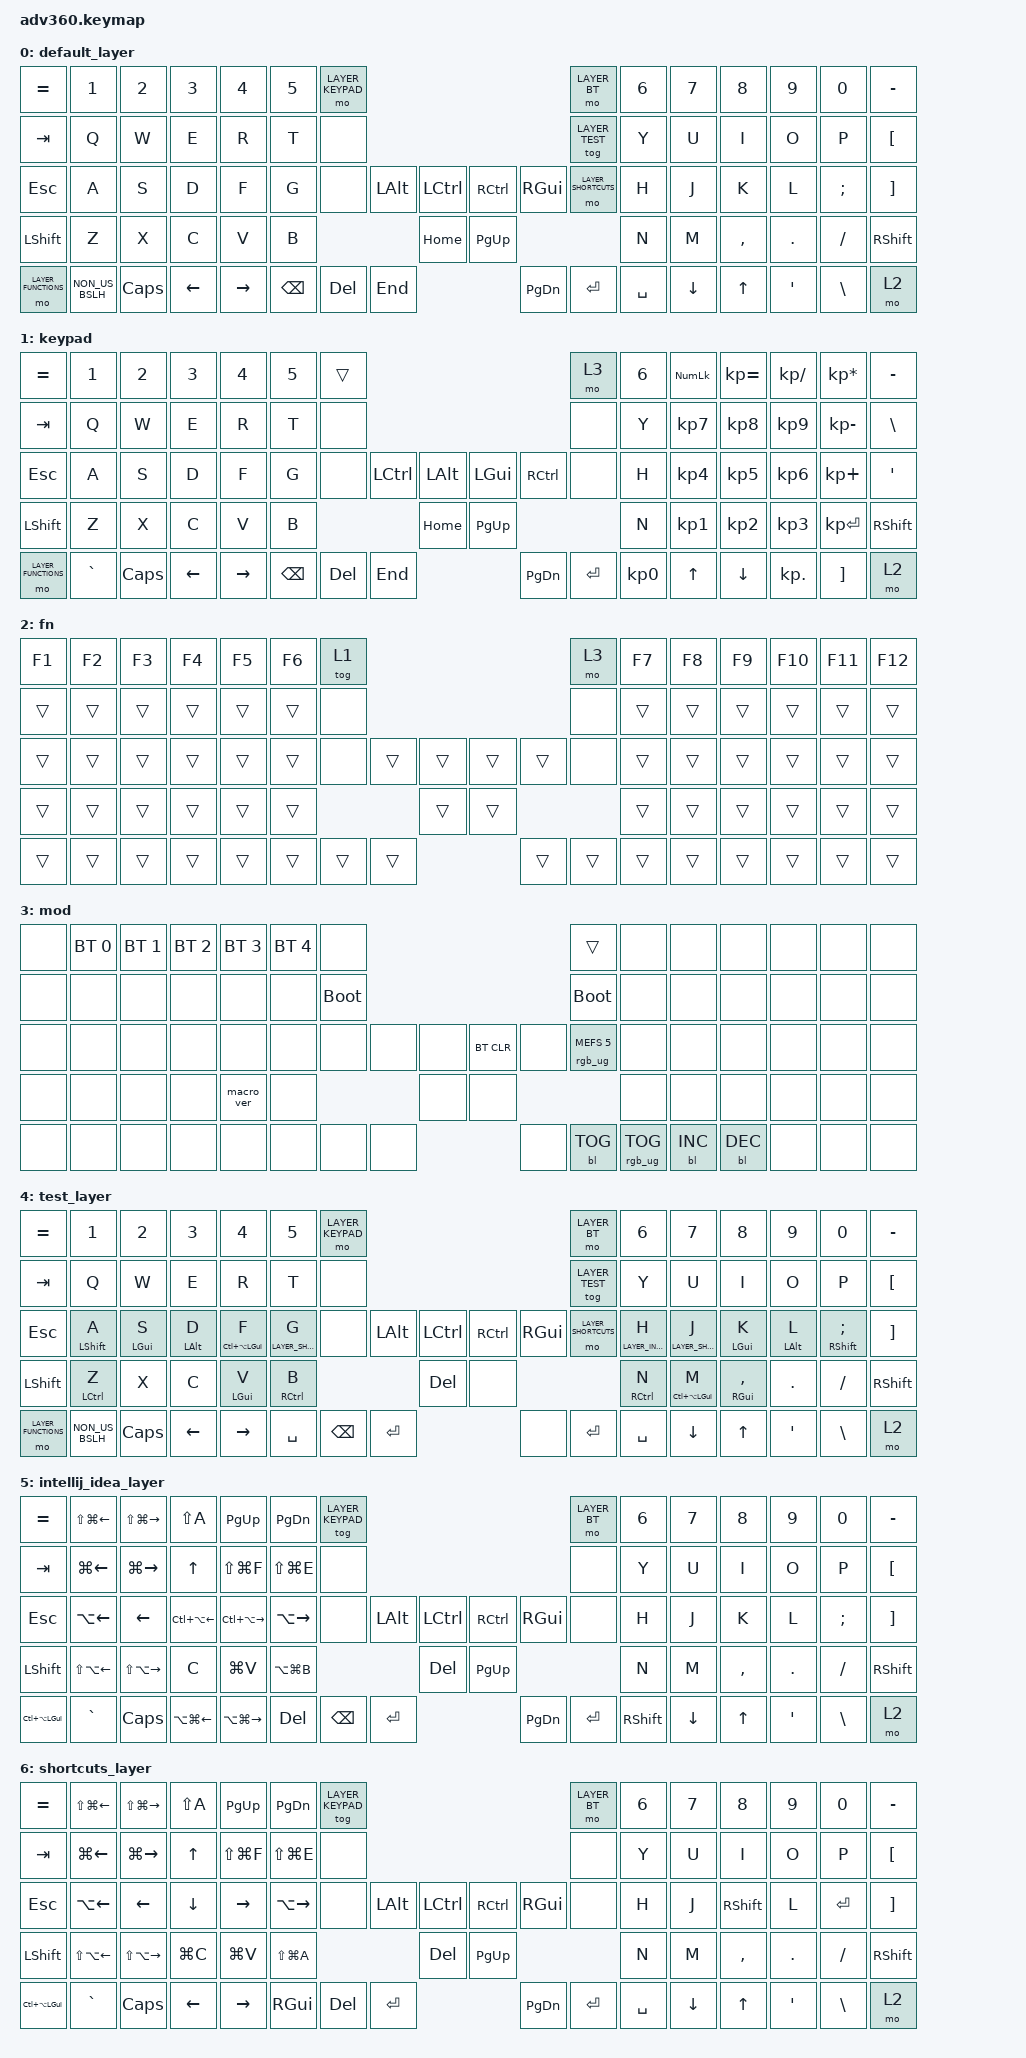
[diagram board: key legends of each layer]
#include <behaviors.dtsi>
#include <dt-bindings/zmk/keys.h>
#include <dt-bindings/zmk/bt.h>
#include <dt-bindings/zmk/rgb.h>
#include <dt-bindings/zmk/backlight.h>
#define LAYER_DEFAULT 0
#define LAYER_KEYPAD 1
#define LAYER_FUNCTIONS 2
#define LAYER_BT 3
#define LAYER_TEST 4
#define LAYER_INTELLIJ_IDEA 5
#define LAYER_SHORTCUTS 6


/*
 Configuraciones de teclado lationamericano
 SEMI - ñ
 LEFT_BRACKET - acento ´
 SQT - open bracckets {}
*/

/ {
    behaviors {
      #include "macros.dtsi"
      #include "version.dtsi"
      #ifndef VERSION_MACRO
      macro_ver: macro_ver {
        compatible = "zmk,behavior-macro";
        label = "macro_version";
        #binding-cells = <0>;
        bindings = <&kp RET>;
      };
      #endif

      hm: homerow_mods {
          compatible = "zmk,behavior-hold-tap";
          label = "HOMEROW_MODS";
          #binding-cells = <2>;
          tapping-term-ms = <181>;
          quick_tap_ms = <164>;
          flavor = "tap-preferred";
          bindings = <&kp>, <&kp>;
      };

      hms: homerow_mods_speed {
          compatible = "zmk,behavior-hold-tap";
          label = "HOMEROW_MODS_SPEED";
          #binding-cells = <2>;
          tapping-term-ms = <151>;
          quick_tap_ms = <134>;
          flavor = "tap-preferred";
          bindings = <&kp>, <&kp>;
      };

      shm: shift_homerow_mods {
          compatible = "zmk,behavior-hold-tap";
          label = "HOMEROW_MODS";
          #binding-cells = <2>;
          tapping-term-ms = <1>;
          //quick_tap_ms = <1>;
          flavor = "tap-preferred";
          bindings = <&kp>, <&kp>;
      };

      lm: layer_mods {
          compatible = "zmk,behavior-hold-tap";
          label = "LAYER_MODS";
          #binding-cells = <2>;
          tapping-term-ms = <181>;
          quick_tap_ms = <164>;
          flavor = "tap-preferred";
          bindings = <&mo>, <&kp>;
      };
    };

  keymap {
    compatible = "zmk,keymap";

    default_layer {
      bindings = <
        &kp EQUAL               &kp N1                  &kp N2                &kp N3                &kp N4                  &kp N5              &mo LAYER_KEYPAD                                                                          &mo LAYER_BT                   &kp N6        &kp N7            &kp N8                &kp N9            &kp N0            &kp MINUS
        &kp TAB                 &kp Q                   &kp W                 &kp E                 &kp R                   &kp T               &none                                                                                     &tog LAYER_TEST                &kp Y         &kp U             &kp I                 &kp O             &kp P             &kp LEFT_BRACKET
        &kp ESC                 &kp A                   &kp S                 &kp D                 &kp F                   &kp G               &none                &kp LALT   &kp LCTRL   &kp RCTRL     &kp RGUI                        &mo LAYER_SHORTCUTS            &kp H         &kp J             &kp K                 &kp L             &kp SEMI          &kp RIGHT_BRACKET
        &kp LSHFT               &kp Z                   &kp X                 &kp C                 &kp V                   &kp B                                               &kp HOME    &kp PG_UP                                                                    &kp N         &kp M             &kp COMMA             &kp DOT           &kp FSLH          &kp RSHFT
        &mo LAYER_FUNCTIONS     &kp NON_US_BSLH         &kp CAPS              &kp LEFT              &kp RIGHT                                              &kp BSPC  &kp DEL    &kp END     &kp PG_DN     &kp ENTER   &kp SPACE                                                        &kp DOWN          &kp UP                &kp SQT           &kp BACKSLASH     &mo 2
      >;
    };
    keypad {
      bindings = <
        &kp EQUAL &kp N1    &kp N2   &kp N3   &kp N4     &kp N5 &trans                                                           &mo 3 &kp N6 &kp KP_NUM &kp KP_EQUAL &kp KP_DIVIDE &kp KP_MULTIPLY &kp MINUS
        &kp TAB   &kp Q     &kp W    &kp E    &kp R      &kp T  &none                                                            &none &kp Y  &kp KP_N7  &kp KP_N8    &kp KP_N9     &kp KP_MINUS    &kp BSLH
        &kp ESC   &kp A     &kp S    &kp D    &kp F      &kp G  &none           &kp LCTRL &kp LALT &kp LGUI  &kp RCTRL           &none &kp H  &kp KP_N4  &kp KP_N5    &kp KP_N6     &kp KP_PLUS     &kp SQT
        &kp LSHFT &kp Z     &kp X    &kp C    &kp V      &kp B                            &kp HOME &kp PG_UP                           &kp N  &kp KP_N1  &kp KP_N2    &kp KP_N3     &kp KP_ENTER    &kp RSHFT
        &mo LAYER_FUNCTIONS     &kp GRAVE &kp CAPS &kp LEFT &kp RIGHT                &kp BSPC &kp DEL   &kp END  &kp PG_DN &kp ENTER &kp KP_N0              &kp UP     &kp DOWN     &kp KP_DOT    &kp RBKT        &mo 2
      >;
    };
    fn {
      bindings = <
        &kp F1 &kp F2 &kp F3 &kp F4 &kp F5 &kp F6 &tog 1                                           &mo 3 &kp F7 &kp F8 &kp F9 &kp F10 &kp F11 &kp F12
        &trans &trans &trans &trans &trans &trans  &none                                           &none &trans &trans &trans &trans  &trans  &trans
        &trans &trans &trans &trans &trans &trans  &none        &trans &trans &trans &trans        &none &trans &trans &trans &trans  &trans  &trans
        &trans &trans &trans &trans &trans &trans                      &trans &trans                     &trans &trans &trans &trans  &trans  &trans
        &trans &trans &trans &trans &trans               &trans &trans &trans &trans &trans &trans              &trans &trans &trans  &trans  &trans
      >;
    };
    mod {
      bindings = <
        &none &bt BT_SEL 0 &bt BT_SEL 1 &bt BT_SEL 2 &bt BT_SEL 3 &bt BT_SEL 4 &none                                                                     &trans                 &none        &none        &none        &none &none &none
        &none &none        &none        &none        &none        &none        &bootloader                                                               &bootloader            &none        &none        &none        &none &none &none
        &none &none        &none        &none        &none        &none        &none                   &none &none &bt BT_CLR &none                      &rgb_ug RGB_MEFS_CMD 5 &none        &none        &none        &none &none &none
        &none &none        &none        &none        &macro_ver   &none                                      &none &none                                                        &none        &none        &none        &none &none &none
        &none &none        &none        &none        &none                                       &none &none &none &none      &bl BL_TOG &rgb_ug RGB_TOG                                     &bl BL_INC   &bl BL_DEC   &none &none &none
      >;
    };
    test_layer {
      bindings = <
        &kp EQUAL               &kp N1                  &kp N2                &kp N3                &kp N4                  &kp N5                              &mo LAYER_KEYPAD                                                                          &mo LAYER_BT                   &kp N6                            &kp N7                     &kp N8                &kp N9            &kp N0            &kp MINUS
        &kp TAB                 &kp Q                   &kp W                 &kp E                 &kp R                   &kp T                               &none                                                                                     &tog LAYER_TEST                &kp Y                             &kp U                      &kp I                 &kp O             &kp P             &kp LEFT_BRACKET
        &kp ESC                 &shm LSHFT A            &hm LGUI S            &hm LALT D            &hms LC(LA(LGUI)) F     &lm LAYER_SHORTCUTS G               &none              &kp LALT   &kp LCTRL   &kp RCTRL     &kp RGUI                          &mo LAYER_SHORTCUTS            &lm LAYER_INTELLIJ_IDEA H         &lm LAYER_SHORTCUTS J      &hms LGUI K           &hm LALT L        &shm RSHFT SEMI   &kp RIGHT_BRACKET
        &kp LSHFT               &hm LCTRL Z             &kp X                 &kp C                 &hms LGUI V             &hms RCTRL B                                                      &kp DEL     &none                                                                          &hms RCTRL N                      &hms LC(LA(LGUI)) M        &hms RGUI COMMA       &kp DOT           &kp FSLH          &kp RSHFT
        &mo LAYER_FUNCTIONS     &kp NON_US_BSLH         &kp CAPS              &kp LEFT              &kp RIGHT                                                           &kp SPACE  &kp BSPC   &kp ENTER   &none         &kp ENTER     &kp SPACE                                                                            &kp DOWN                   &kp UP                &kp SQT           &kp BACKSLASH     &mo 2
      >;
    };
    intellij_idea_layer {
      bindings = <
        &kp EQUAL               &kp LS(LG(LEFT))        &kp LS(LG(RIGHT))     &kp LS(A)             &kp PG_UP               &kp PG_DN           &tog LAYER_KEYPAD                                                                         &mo LAYER_BT    &kp N6        &kp N7            &kp N8                &kp N9            &kp N0            &kp MINUS
        &kp TAB                 &kp LG(LEFT)            &kp LG(RIGHT)         &kp UP                &kp LS(LG(F))           &kp LS(LG(E))       &none                                                                                     &none           &kp Y         &kp U             &kp I                 &kp O             &kp P             &kp LEFT_BRACKET
        &kp ESC                 &kp LA(LEFT)            &kp LEFT              &kp LC(LA(LEFT))      &kp LC(LA(RIGHT))       &kp LA(RIGHT)       &none                &kp LALT   &kp LCTRL   &kp RCTRL     &kp RGUI                        &none           &kp H         &kp J             &kp K                 &kp L             &kp SEMI          &kp RIGHT_BRACKET
        &kp LSHFT               &kp LS(LA(LEFT))        &kp LS(LA(RIGHT))     &kp C                 &kp LG(V)               &kp LA(LG(B))                                       &kp DEL     &kp PG_UP                                     &kp N           &kp M         &kp COMMA         &kp DOT               &kp FSLH          &kp RSHFT
        &kp LC(LA(LGUI))        &kp GRAVE               &kp CAPS              &kp LA(LG(LEFT))      &kp LA(LG(RIGHT))                                       &kp DEL  &kp BSPC   &kp ENTER   &kp PG_DN     &kp ENTER   &kp RSHFT           &kp DOWN        &kp UP        &kp SQT           &kp BACKSLASH         &mo 2
      >;
    };    
    shortcuts_layer {
      bindings = <
        &kp EQUAL               &kp LS(LG(LEFT))        &kp LS(LG(RIGHT))     &kp LS(A)             &kp PG_UP               &kp PG_DN           &tog LAYER_KEYPAD                                                                         &mo LAYER_BT    &kp N6        &kp N7            &kp N8                &kp N9            &kp N0            &kp MINUS
        &kp TAB                 &kp LG(LEFT)            &kp LG(RIGHT)         &kp UP                &kp LS(LG(F))           &kp LS(LG(E))       &none                                                                                     &none           &kp Y         &kp U             &kp I                 &kp O             &kp P             &kp LEFT_BRACKET
        &kp ESC                 &kp LA(LEFT)            &kp LEFT              &kp DOWN              &kp RIGHT               &kp LA(RIGHT)       &none                &kp LALT   &kp LCTRL   &kp RCTRL     &kp RGUI                        &none           &kp H         &kp J             &kp RSHFT             &kp L             &kp ENTER         &kp RIGHT_BRACKET
        &kp LSHFT               &kp LS(LA(LEFT))        &kp LS(LA(RIGHT))     &kp LG(C)             &kp LG(V)               &kp LS(LG(A))                                       &kp DEL     &kp PG_UP                                                     &kp N         &kp M             &kp COMMA             &kp DOT           &kp FSLH          &kp RSHFT
        &kp LC(LA(LGUI))        &kp GRAVE               &kp CAPS              &kp LEFT              &kp RIGHT                                              &kp RGUI  &kp DEL    &kp ENTER   &kp PG_DN     &kp ENTER   &kp SPACE                                         &kp DOWN          &kp UP                &kp SQT           &kp BACKSLASH     &mo 2
      >;
    };
  };
};
